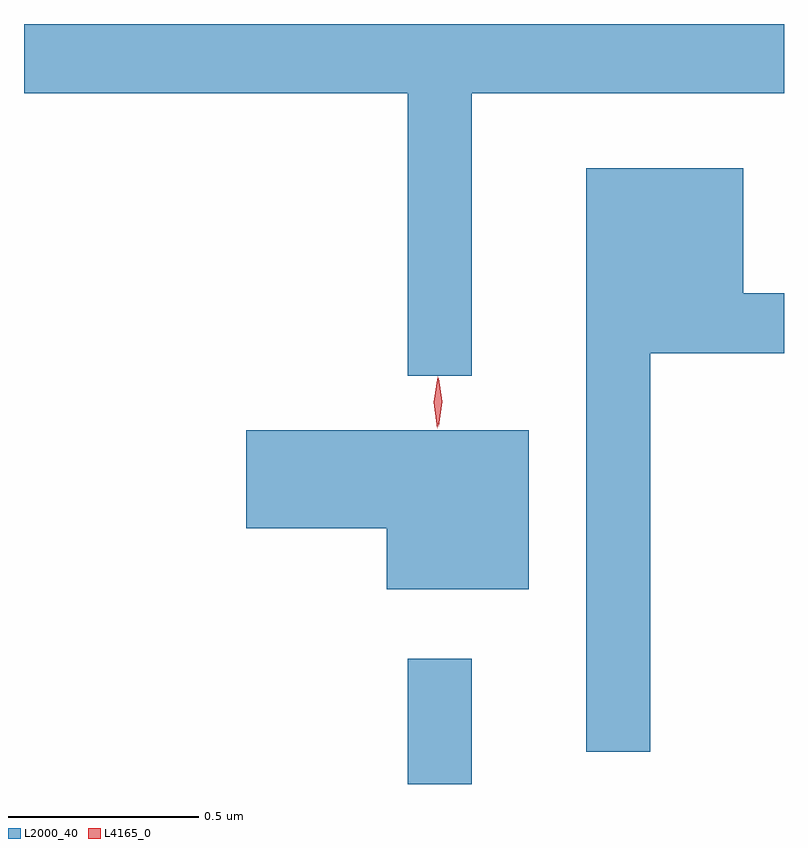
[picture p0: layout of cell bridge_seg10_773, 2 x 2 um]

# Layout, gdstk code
import gdstk
lib = gdstk.Library(unit=1e-6, precision=1e-09)
def R(c, l, rs):  # rectangles x0, y0, x1, y1
    for r in rs: c.add(gdstk.rectangle(r[:2], r[2:], *l))
def P(c, l, *ps):  # polygons
    for p in ps: c.add(gdstk.Polygon(p, *l))
L2000_40 = (2000, 40)
L4165_0 = (4165, 0)

bridge_seg10_773 = lib.new_cell('bridge_seg10_773')
R(bridge_seg10_773, L2000_40, [(617.541,2178.698,617.709,2179.028)])
P(bridge_seg10_773, L2000_40, [(617.709,2180.516),(618.531,2180.516),(618.531,2180.698),(616.531,2180.698),(616.531,2180.516),(617.541,2180.516),(617.541,2179.773),(617.709,2179.773)],
  [(618.179,2179.831),(618.531,2179.831),(618.531,2179.989),(618.424,2179.989),(618.424,2180.319),(618.011,2180.319),(618.011,2178.783),(618.179,2178.783)],
  [(617.859,2179.629),(617.116,2179.629),(617.116,2179.371),(617.486,2179.371),(617.486,2179.211),(617.859,2179.211)])
P(bridge_seg10_773, L4165_0, [(617.618,2179.634),(617.618,2179.634),(617.609,2179.702),(617.62,2179.77),(617.62,2179.77),(617.62,2179.77),(617.629,2179.702),(617.619,2179.634)],
  [(617.622,2179.64),(617.622,2179.64),(617.612,2179.704),(617.622,2179.766),(617.622,2179.767),(617.623,2179.766),(617.632,2179.704),(617.623,2179.64)])

lib.write_gds('bridge_seg10_773.gds')
